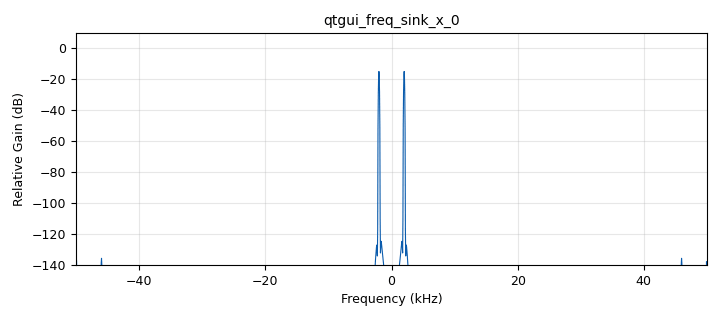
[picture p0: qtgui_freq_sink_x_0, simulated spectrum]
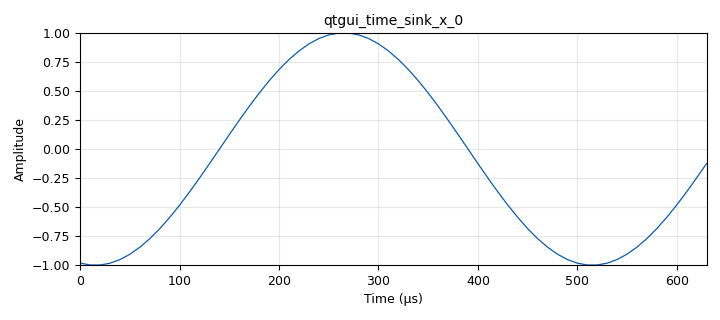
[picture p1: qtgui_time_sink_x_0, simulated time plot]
options:
  parameters:
    author: Daniel Cerro, Andres Gomez
    generate_options: qt_gui
    id: LAB1_D1A_4G
    output_language: python
    title: LAB1_D1A_4G
  states: {}

blocks:
- name: freq
  id: variable_qtgui_range
  parameters:
    label: Frequency
    orient: Qt.Horizontal
    rangeType: int
    start: '1000'
    step: '1000'
    stop: '120000'
    value: '2000'
  states: {}
- name: samp_rate
  id: variable
  parameters:
    value: '100000'
  states: {}
- name: analog_sig_source_x_0
  id: analog_sig_source_x
  parameters:
    amp: '1'
    freq: freq
    offset: '0'
    phase: '0'
    samp_rate: samp_rate
    type: float
    waveform: analog.GR_SIN_WAVE
  states: {}
- name: audio_sink_0
  id: audio_sink
  parameters:
    samp_rate: samp_rate
  states: {state: disabled}
- name: blocks_throttle_0
  id: blocks_throttle
  parameters:
    samples_per_second: samp_rate
    type: float
  states: {}
- name: qtgui_freq_sink_x_0
  id: qtgui_freq_sink_x
  parameters:
    bw: samp_rate
    fc: '0'
    fftsize: '2048'
    type: float
    wintype: firdes.WIN_BLACKMAN_hARRIS
  states: {}
- name: qtgui_time_sink_x_0
  id: qtgui_time_sink_x
  parameters:
    grid: 'True'
    size: '64'
    srate: samp_rate
    type: float
  states: {}

connections:
- [analog_sig_source_x_0, '0', blocks_throttle_0, '0']
- [blocks_throttle_0, '0', audio_sink_0, '0']
- [blocks_throttle_0, '0', qtgui_freq_sink_x_0, '0']
- [blocks_throttle_0, '0', qtgui_time_sink_x_0, '0']

metadata:
  file_format: 1
